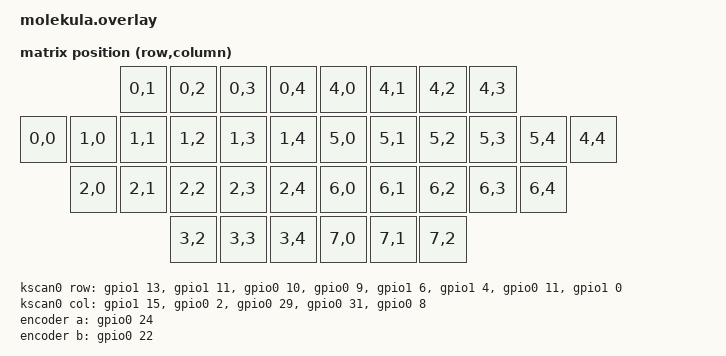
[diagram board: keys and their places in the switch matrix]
/*
 * Copyright (c) 2020 The ZMK Contributors
 *
 * SPDX-License-Identifier: MIT
 */

#include <dt-bindings/zmk/matrix_transform.h>

/ {
    chosen {
        zmk,kscan = &kscan0;
        zmk,matrix_transform = &default_transform;
    };

    default_transform: keymap_transform_0 {
        compatible = "zmk,matrix-transform";
        columns = <10>;
        rows = <5>;
        map = <
                            RC(0,1) RC(0,2) RC(0,3) RC(0,4)     RC(4,0) RC(4,1) RC(4,2) RC(4,3)
            RC(0,0) RC(1,0) RC(1,1) RC(1,2) RC(1,3) RC(1,4)     RC(5,0) RC(5,1) RC(5,2) RC(5,3) RC(5,4) RC(4,4)
                    RC(2,0) RC(2,1) RC(2,2) RC(2,3) RC(2,4)     RC(6,0) RC(6,1) RC(6,2) RC(6,3) RC(6,4)
                                    RC(3,2) RC(3,3) RC(3,4)     RC(7,0) RC(7,1) RC(7,2)
        >;
    };


    kscan0: kscan_0 {
        compatible = "zmk,kscan-gpio-matrix";
        diode-direction = "col2row";

        col-gpios
            = <&gpio1 15 GPIO_ACTIVE_HIGH>
            , <&gpio0 2 GPIO_ACTIVE_HIGH>
            , <&gpio0 29 GPIO_ACTIVE_HIGH>
            , <&gpio0 31 GPIO_ACTIVE_HIGH>
            , <&gpio0 8 GPIO_ACTIVE_HIGH>
            ;

        row-gpios
            = <&gpio1 13 (GPIO_ACTIVE_HIGH | GPIO_PULL_DOWN)>
            , <&gpio1 11 (GPIO_ACTIVE_HIGH | GPIO_PULL_DOWN)>
            , <&gpio0 10 (GPIO_ACTIVE_HIGH | GPIO_PULL_DOWN)>
            , <&gpio0 9 (GPIO_ACTIVE_HIGH | GPIO_PULL_DOWN)>
            , <&gpio1 6 (GPIO_ACTIVE_HIGH | GPIO_PULL_DOWN)>
            , <&gpio1 4 (GPIO_ACTIVE_HIGH | GPIO_PULL_DOWN)>
            , <&gpio0 11 (GPIO_ACTIVE_HIGH | GPIO_PULL_DOWN)>
            , <&gpio1 0 (GPIO_ACTIVE_HIGH | GPIO_PULL_DOWN)>
            ;
    };

    encoder: encoder_left {
        compatible = "alps,ec11";
        a-gpios = <&gpio0 24 (GPIO_ACTIVE_HIGH | GPIO_PULL_UP)>;
        b-gpios = <&gpio0 22 (GPIO_ACTIVE_HIGH | GPIO_PULL_UP)>;
        steps = <12>;
        status = "disabled";
    };

    sensors: sensors {
        compatible = "zmk,keymap-sensors";
        sensors = <&encoder>;
        triggers-per-rotation = <12>;
    };
};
